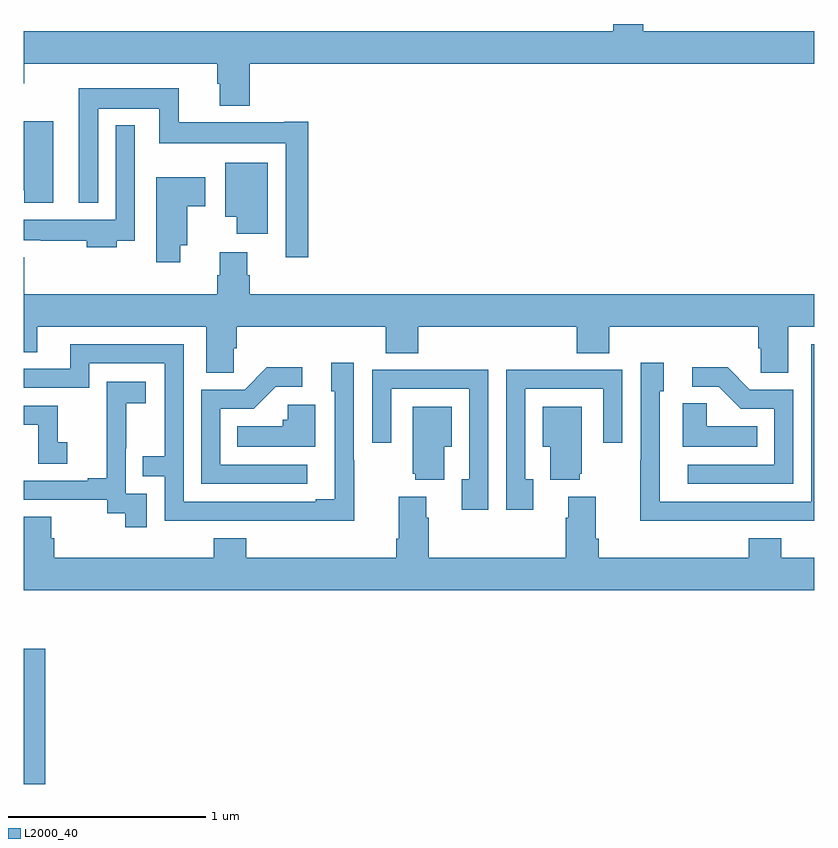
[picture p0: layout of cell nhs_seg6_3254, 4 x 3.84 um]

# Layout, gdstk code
import gdstk
lib = gdstk.Library(unit=1e-6, precision=1e-09)
def R(c, l, rs):  # rectangles x0, y0, x1, y1
    for r in rs: c.add(gdstk.rectangle(r[:2], r[2:], *l))
def P(c, l, *ps):  # polygons
    for p in ps: c.add(gdstk.Polygon(p, *l))
L2000_40 = (2000, 40)

nhs_seg6_3254 = lib.new_cell('nhs_seg6_3254')
R(nhs_seg6_3254, L2000_40, [(301,979.656,301.109,980.341)])
P(nhs_seg6_3254, L2000_40, [(302.144,983.3),(305,983.3),(305,983.464),(304.134,983.464),(304.134,983.5),(303.983,983.5),(303.983,983.464),(301,983.464),(301,983.201),(301.004,983.201),(301.004,983.3),(301.979,983.3),(301.979,983.199),(301.991,983.199),(301.991,983.087),(302.144,983.087)],
  [(302.441,983.005),(302.318,983.005),(302.318,983.002),(301.784,983.002),(301.784,983.176),(301.28,983.176),(301.28,982.595),(301.377,982.595),(301.377,983.072),(301.686,983.072),(301.686,982.898),(302.325,982.898),(302.325,982.32),(302.441,982.32)],
  [(301.15,983.007),(301,983.007),(301,982.659),(301.004,982.659),(301.004,982.596),(301.15,982.596)],
  [(301.471,982.404),(301.563,982.404),(301.563,982.987),(301.467,982.987),(301.467,982.51),(301,982.51),(301,982.406),(301.087,982.406),(301.087,982.404),(301.319,982.404),(301.319,982.37),(301.471,982.37)],
  [(302.236,982.798),(302.021,982.798),(302.021,982.526),(302.078,982.526),(302.078,982.44),(302.236,982.44)],
  [(301.792,982.382),(301.828,982.382),(301.828,982.579),(301.918,982.579),(301.918,982.726),(301.67,982.726),(301.67,982.296),(301.792,982.296)],
  [(302.064,981.859),(302.078,981.859),(302.078,981.968),(302.831,981.968),(302.831,981.835),(302.996,981.835),(302.996,981.968),(303.797,981.968),(303.797,981.835),(303.962,981.835),(303.962,981.968),(304.715,981.968),(304.715,981.859),(304.728,981.859),(304.728,981.736),(304.867,981.736),(304.867,981.968),(305,981.968),(305,982.132),(302.144,982.132),(302.144,982.23),(302.131,982.23),(302.131,982.345),(301.991,982.345),(301.991,982.23),(301.979,982.23),(301.979,982.132),(301.004,982.132),(301.004,982.321),(301,982.321),(301,981.841),(301.069,981.841),(301.069,981.968),(301.925,981.968),(301.925,981.736),(302.064,981.736)],
  [(304.583,980.988),(305,980.988),(305,981.879),(304.983,981.879),(304.983,981.084),(304.218,981.084),(304.218,981.642),(304.237,981.642),(304.237,981.787),(304.122,981.787),(304.122,981.293),(304.12,981.293),(304.12,980.987),(304.583,980.987)],
  [(302.673,981.293),(302.67,981.293),(302.67,981.787),(302.555,981.787),(302.555,981.642),(302.574,981.642),(302.574,981.097),(302.477,981.097),(302.477,981.084),(301.809,981.084),(301.809,981.879),(301.235,981.879),(301.235,981.756),(301,981.756),(301,981.66),(301.332,981.66),(301.332,981.783),(301.713,981.783),(301.713,981.314),(301.603,981.314),(301.603,981.213),(301.713,981.213),(301.713,980.988),(302.209,980.988),(302.209,980.987),(302.673,980.987)],
  [(302.434,981.27),(301.995,981.27),(301.995,981.555),(302.164,981.555),(302.275,981.666),(302.41,981.666),(302.41,981.764),(302.231,981.764),(302.118,981.651),(301.899,981.651),(301.899,981.174),(302.434,981.174)],
  [(304.893,981.651),(304.674,981.651),(304.561,981.764),(304.383,981.764),(304.383,981.666),(304.517,981.666),(304.628,981.555),(304.797,981.555),(304.797,981.27),(304.359,981.27),(304.359,981.174),(304.893,981.174)],
  [(303.577,981.198),(303.537,981.198),(303.537,981.654),(303.933,981.654),(303.933,981.381),(304.029,981.381),(304.029,981.75),(303.713,981.75),(303.713,981.752),(303.441,981.752),(303.441,981.042),(303.577,981.042)],
  [(303.351,981.752),(303.079,981.752),(303.079,981.75),(302.763,981.75),(302.763,981.381),(302.859,981.381),(302.859,981.654),(303.255,981.654),(303.255,981.198),(303.215,981.198),(303.215,981.042),(303.351,981.042)],
  [(301.623,981.123),(301.518,981.123),(301.518,981.353),(301.52,981.353),(301.52,981.581),(301.618,981.581),(301.618,981.691),(301.42,981.691),(301.42,981.485),(301.421,981.485),(301.421,981.202),(301.325,981.202),(301.325,981.189),(301,981.189),(301,981.093),(301.422,981.093),(301.422,981.025),(301.515,981.025),(301.515,980.955),(301.623,980.955)],
  [(304.712,981.466),(304.455,981.466),(304.455,981.581),(304.334,981.581),(304.334,981.362),(304.712,981.362)],
  [(302.476,981.574),(302.337,981.574),(302.337,981.498),(302.311,981.498),(302.311,981.466),(302.08,981.466),(302.08,981.362),(302.476,981.362)],
  [(301.222,981.385),(301.173,981.385),(301.173,981.57),(301,981.57),(301,981.474),(301.074,981.474),(301.074,981.276),(301.222,981.276)],
  [(303.812,981.225),(303.823,981.225),(303.823,981.565),(303.626,981.565),(303.626,981.362),(303.665,981.362),(303.665,981.194),(303.812,981.194)],
  [(303.127,981.362),(303.166,981.362),(303.166,981.565),(302.969,981.565),(302.969,981.225),(302.981,981.225),(302.981,981.194),(303.127,981.194)],
  [(305,980.8),(304.832,980.8),(304.832,980.899),(304.667,980.899),(304.667,980.8),(303.908,980.8),(303.908,980.896),(303.895,980.896),(303.895,981.109),(303.755,981.109),(303.755,981.002),(303.743,981.002),(303.743,980.8),(303.05,980.8),(303.05,981.002),(303.037,981.002),(303.037,981.109),(302.897,981.109),(302.897,980.896),(302.885,980.896),(302.885,980.8),(302.126,980.8),(302.126,980.899),(301.961,980.899),(301.961,980.8),(301.154,980.8),(301.154,980.898),(301.141,980.898),(301.141,981.008),(301,981.008),(301,980.636),(305,980.636)])

lib.write_gds('nhs_seg6_3254.gds')
